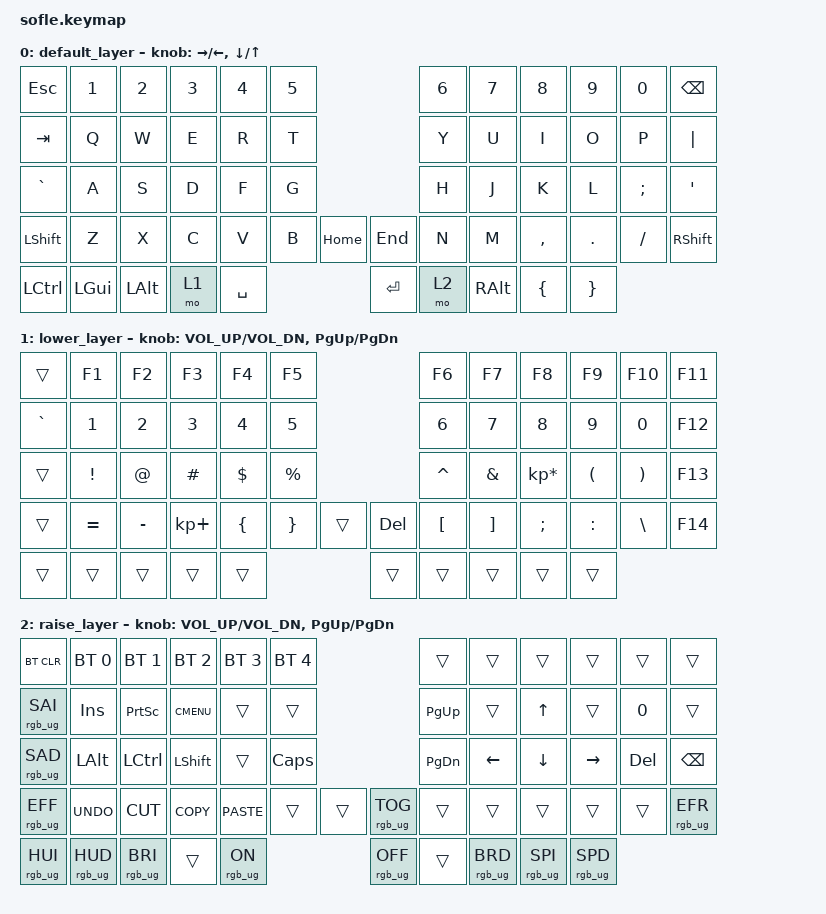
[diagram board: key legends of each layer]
/*
 * Copyright (c) 2020 The ZMK Contributors
 *
 * SPDX-License-Identifier: MIT
 */

#include <behaviors.dtsi>
#include <dt-bindings/zmk/keys.h>
#include <dt-bindings/zmk/bt.h>
#include <dt-bindings/zmk/ext_power.h>
#include <dt-bindings/zmk/rgb.h>

/* &nice_view_spi { cs-gpios = <&pro_micro 0 GPIO_ACTIVE_HIGH>; }; */

/*
 * RGB LEDs are on SPI 8 in our build - originally 6 where do we have Nice!View!
 * Source: https://github.com/zmkfirmware/zmk/blob/main/app/boards/shields/reviung41/boards/nice_nano.overlay
 * GitHub Issue: https://github.com/zmkfirmware/zmk/issues/885
 */

#include <dt-bindings/led/led.h>

&pinctrl {
    spi3_default: spi3_default {
        group1 {
            psels = <NRF_PSEL(SPIM_MOSI, 0, 8)>;
        };
    };

    spi3_sleep: spi3_sleep {
        group1 {
            psels = <NRF_PSEL(SPIM_MOSI, 0, 8)>;
            low-power-enable;
        };
    };
};

&spi3 {
    compatible = "nordic,nrf-spim";
    status = "okay";

    pinctrl-0 = <&spi3_default>;
    pinctrl-1 = <&spi3_sleep>;
    pinctrl-names = "default", "sleep";

    led_strip: ws2812@0 {
        compatible = "worldsemi,ws2812-spi";
        label = "WS2812";

        /* SPI */
        reg = <0>; /* ignored, but necessary for SPI bindings */
        spi-max-frequency = <4000000>;

        /* WS2812 */
        chain-length = <30>;
        spi-one-frame = <0x70>;
        spi-zero-frame = <0x40>;

        color-mapping = <LED_COLOR_ID_GREEN LED_COLOR_ID_RED LED_COLOR_ID_BLUE>;
    };
};

/ {
    chosen {
        zmk,underglow = &led_strip;
    };
};

/* END temporary RGB support section */


/ {
    keymap {
        compatible = "zmk,keymap";

        default_layer {
// ------------------------------------------------------------------------------------------------------------------
// |  ESC  |  1  |  2  |  3   |  4   |  5   |                         |  6   |  7    |  8    |  9   |   0   | BKSPC |
// |  TAB  |  Q  |  W  |  E   |  R   |  T   |                         |  Y   |  U    |  I    |  O   |   P   |   |   |
// |  `    |  A  |  S  |  D   |  F   |  G   |                         |  H   |  J    |  K    |  L   |   ;   |   '   |
// | SHIFT |  Z  |  X  |  C   |  V   |  B   |  HOME  |        | END |  N   |  M    |  ,    |  .   |   /   | SHIFT |
//               | CTRL | GUI | ALT | LOWER |  SPACE |        | ENTER | RAISE| ALT   |  [    |  ]   |
            bindings = <
&kp ESC &kp N1 &kp N2   &kp N3   &kp N4    &kp N5                              &kp N6 &kp N7    &kp N8    &kp N9   &kp N0   &kp BSPC
&kp TAB   &kp Q  &kp W    &kp E    &kp R     &kp T                               &kp Y  &kp U     &kp I     &kp O    &kp P    &kp PIPE
&kp GRAVE   &kp A  &kp S    &kp D    &kp F     &kp G                               &kp H  &kp J     &kp K     &kp L    &kp SEMI &kp SQT
&kp LSHFT &kp Z  &kp X    &kp C    &kp V     &kp B  &kp HOME &kp END &kp N  &kp M     &kp COMMA &kp DOT  &kp FSLH &kp RSHFT
                 &kp LCTRL &kp LGUI &kp LALT &mo 1  &kp SPACE    &kp RET         &mo 2  &kp RALT  &kp LBRC  &kp RBRC
            >;

            sensor-bindings = <&inc_dec_kp RIGHT LEFT &inc_dec_kp DOWN UP>;
        };

        lower_layer {
// TODO: Some binds are waiting for shifted keycode support.
// ------------------------------------------------------------------------------------------------------------
// |       |  F1 |  F2 |  F3  |  F4  |  F5  |                   |  F6  |  F7   |  F8   |  F9  |  F10  |  F11  |
// | `     |   1 |   2 |   3  |   4  |   5  |                   |   6  |   7   |   8   |   9  |    0  |  F12  |
// |       |  !  |  @  |  #   |  $   |  %   |                   |  ^   |  &    |  *    |  (   |   )   |  F13  |
// |       |  =  |  -  |  +   |  {   |  }   |        |  |  DEL  |  [   |  ]    |  ;    |  :   |   \   |  F14  |
//               |     |      |      |      |        |  |       |      |       |       |      |
            bindings = <
&trans    &kp F1    &kp F2    &kp F3      &kp F4    &kp F5                    &kp F6    &kp F7   &kp F8          &kp F9    &kp F10   &kp F11
&kp GRAVE &kp N1    &kp N2    &kp N3      &kp N4    &kp N5                    &kp N6    &kp N7   &kp N8          &kp N9    &kp N0    &kp F12
&trans    &kp EXCL  &kp AT    &kp HASH    &kp DLLR  &kp PRCNT                 &kp CARET &kp AMPS &kp KP_MULTIPLY &kp LPAR  &kp RPAR  &kp F13
&trans    &kp EQUAL &kp MINUS &kp KP_PLUS &kp LBRC  &kp RBRC  &trans  &kp DEL &kp LBKT  &kp RBKT &kp SEMI        &kp COLON &kp BSLH  &kp F14 
  &trans       &trans       &trans       &trans  &trans   &trans           &trans    &trans    &trans   &trans
>;

            sensor-bindings = <&inc_dec_kp C_VOL_UP C_VOL_DN &inc_dec_kp PG_UP PG_DN>;
        };

        raise_layer {
// ------------------------------------------------------------------------------------------------------------
// |BTCLR| BT1  | BT2  |  BT3  |  BT4  |  BT5 |                 |      |      |       |      |       |       |
// | RGB | INS  | PSCR | GUI   |       |      |                 | PGUP |      |   ^   |      |       |       |
// | RGB | ALT  | CTRL | SHIFT |       | CAPS |                 | PGDN |   <- |   v   |  ->  |  DEL  | BKSPC |
// | RGB | UNDO | CUT  | COPY  | PASTE |      |      |   | RGB  |      |      |       |      |       |       |
//   RGB | RGB  | RGB  |       | RGB   |      |      |   |   |  RGB    |      | RGB   | RGB  |  RGB  |
            bindings = <
&bt BT_CLR &bt BT_SEL 0 &bt BT_SEL 1 &bt BT_SEL 2 &bt BT_SEL 3 &bt BT_SEL 4                      &trans    &trans    &trans   &trans    &trans  &trans
&rgb_ug RGB_SAI &kp INS      &kp PSCRN    &kp K_CMENU  &trans       &trans                            &kp PG_UP &trans    &kp UP   &trans    &kp N0  &trans
&rgb_ug RGB_SAD &kp LALT     &kp LCTRL    &kp LSHFT    &trans       &kp CLCK                          &kp PG_DN &kp LEFT  &kp DOWN &kp RIGHT &kp DEL &kp BSPC
&rgb_ug RGB_EFF &kp K_UNDO   &kp K_CUT    &kp K_COPY   &kp K_PASTE  &trans  &trans   &rgb_ug RGB_TOG  &trans    &trans    &trans   &trans    &trans  &rgb_ug RGB_EFR
&rgb_ug RGB_HUI &rgb_ug RGB_HUD &rgb_ug RGB_BRI &trans &rgb_ug RGB_ON    &rgb_ug RGB_OFF &trans &rgb_ug RGB_BRD &rgb_ug RGB_SPI &rgb_ug RGB_SPD
                        
            >;

            sensor-bindings = <&inc_dec_kp C_VOL_UP C_VOL_DN &inc_dec_kp PG_UP PG_DN>;
        };

        /* STUDIO managed */
        extra1 {
            status = "reserved";
        };

        extra2 {
            status = "reserved";
        };

        extra3 {
            status = "reserved";
        };

        extra4 {
            status = "reserved";
        };

        extra5 {
            status = "reserved";
        };

        extra6 {
            status = "reserved";
        };

    };
};
